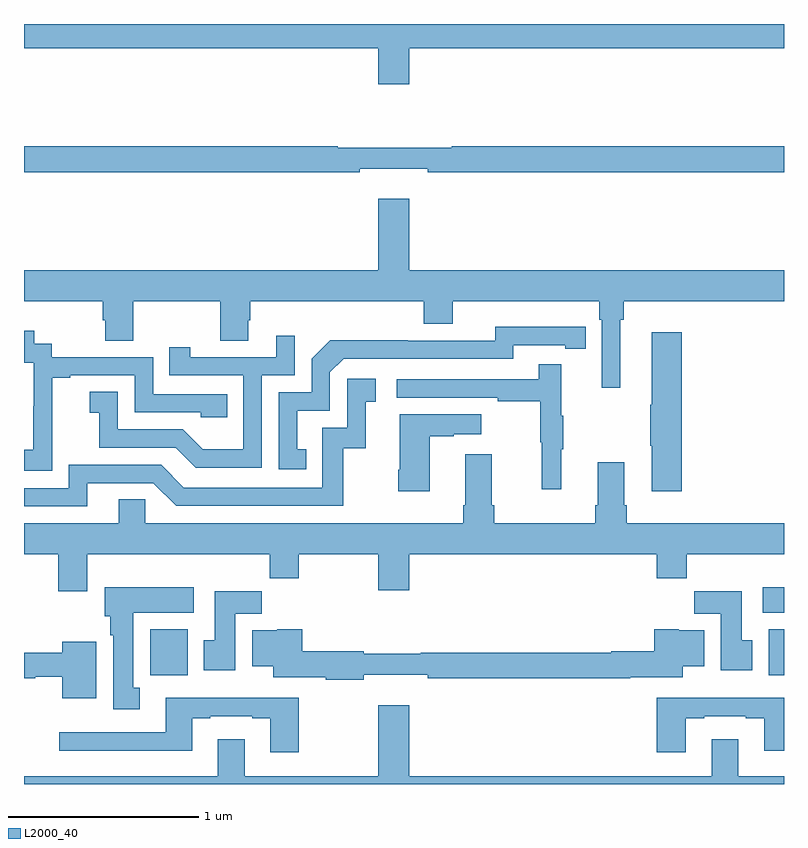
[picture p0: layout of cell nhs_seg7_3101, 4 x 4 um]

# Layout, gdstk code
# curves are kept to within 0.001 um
import gdstk
lib = gdstk.Library(unit=1e-6, precision=1e-09)
def R(c, l, rs):  # rectangles x0, y0, x1, y1
    for r in rs: c.add(gdstk.rectangle(r[:2], r[2:], *l))
def P(c, l, *ps):  # polygons
    for p in ps: c.add(gdstk.Polygon(p, *l))
L2000_40 = (2000, 40)

nhs_seg7_3101 = lib.new_cell('nhs_seg7_3101')
R(nhs_seg7_3101, L2000_40, [(307.664,1074.572,307.861,1074.814), (310.919,1074.572,311,1074.814), (310.887,1074.902,311,1075.036)])
P(nhs_seg7_3101, L2000_40, [(309.028,1077.872),(311,1077.872),(311,1078),(307,1078),(307,1077.872),(308.864,1077.872),(308.864,1077.684),(309.028,1077.684)],
  [(308.768,1077.239),(309.124,1077.239),(309.124,1077.22),(311,1077.22),(311,1077.356),(309.25,1077.356),(309.25,1077.349),(308.65,1077.349),(308.65,1077.356),(307,1077.356),(307,1077.22),(308.768,1077.22)],
  [(310.138,1076.444),(310.157,1076.444),(310.157,1076.54),(311,1076.54),(311,1076.704),(309.028,1076.704),(309.028,1077.079),(308.864,1077.079),(308.864,1076.704),(307,1076.704),(307,1076.54),(307.415,1076.54),(307.415,1076.442),(307.427,1076.442),(307.427,1076.332),(307.575,1076.332),(307.575,1076.54),(308.032,1076.54),(308.032,1076.332),(308.179,1076.332),(308.179,1076.442),(308.192,1076.442),(308.192,1076.54),(309.104,1076.54),(309.104,1076.423),(309.256,1076.423),(309.256,1076.54),(310.028,1076.54),(310.028,1076.444),(310.041,1076.444),(310.041,1076.085),(310.138,1076.085)],
  [(308.486,1075.761),(308.437,1075.761),(308.437,1075.965),(308.61,1075.965),(308.61,1076.166),(308.682,1076.238),(309.576,1076.238),(309.576,1076.31),(309.848,1076.31),(309.848,1076.29),(309.956,1076.29),(309.956,1076.406),(309.48,1076.407),(309.48,1076.334),(309.02,1076.334),(309.02,1076.336),(308.612,1076.336),(308.514,1076.238),(308.514,1076.061),(308.34,1076.061),(308.34,1075.656),(308.486,1075.656)],
  [(307.149,1075.855),(307.148,1075.855),(307.148,1076.139),(307.243,1076.139),(307.243,1076.151),(307.584,1076.151),(307.584,1075.956),(307.929,1075.956),(307.929,1075.929),(308.069,1075.929),(308.069,1076.052),(307.68,1076.052),(307.68,1076.247),(307.146,1076.247),(307.146,1076.316),(307.054,1076.316),(307.054,1076.386),(307,1076.386),(307,1076.217),(307.05,1076.217),(307.05,1075.988),(307.049,1075.988),(307.049,1075.759),(307,1075.759),(307,1075.649),(307.149,1075.649)],
  [(310.463,1076.377),(310.304,1076.377),(310.304,1075.997),(310.297,1075.997),(310.297,1075.78),(310.304,1075.78),(310.304,1075.542),(310.463,1075.542)],
  [(308.25,1076.151),(308.424,1076.151),(308.424,1076.359),(308.327,1076.359),(308.327,1076.247),(307.876,1076.247),(307.876,1076.299),(307.765,1076.299),(307.765,1076.151),(308.154,1076.151),(308.154,1075.762),(307.94,1075.762),(307.836,1075.866),(307.494,1075.866),(307.494,1076.065),(307.347,1076.065),(307.347,1075.955),(307.396,1075.955),(307.396,1075.77),(307.799,1075.77),(307.904,1075.665),(308.25,1075.665)],
  [(309.827,1075.763),(309.838,1075.763),(309.838,1075.937),(309.827,1075.937),(309.827,1076.209),(309.709,1076.209),(309.709,1076.13),(308.961,1076.13),(308.961,1076.034),(309.493,1076.034),(309.493,1076.014),(309.717,1076.014),(309.717,1075.8),(309.724,1075.8),(309.724,1075.551),(309.827,1075.551)],
  [(307.333,1075.584),(307.68,1075.584),(307.8,1075.464),(308.68,1075.464),(308.68,1075.767),(308.798,1075.767),(308.798,1076.013),(308.851,1076.013),(308.851,1076.134),(308.7,1076.134),(308.7,1075.875),(308.571,1075.875),(308.571,1075.56),(307.842,1075.56),(307.722,1075.68),(307.236,1075.68),(307.236,1075.557),(307,1075.557),(307,1075.461),(307.333,1075.461)],
  [(309.136,1075.831),(309.263,1075.831),(309.263,1075.841),(309.406,1075.841),(309.406,1075.945),(308.978,1075.945),(308.978,1075.654),(308.971,1075.654),(308.971,1075.542),(309.136,1075.542)],
  [(307.333,1075.208),(308.293,1075.208),(308.293,1075.084),(308.445,1075.084),(308.445,1075.208),(308.864,1075.208),(308.864,1075.02),(309.028,1075.02),(309.028,1075.208),(310.331,1075.208),(310.331,1075.084),(310.487,1075.084),(310.487,1075.208),(311,1075.208),(311,1075.372),(310.172,1075.372),(310.172,1075.468),(310.159,1075.468),(310.159,1075.693),(310.019,1075.693),(310.019,1075.468),(310.007,1075.468),(310.007,1075.372),(309.476,1075.372),(309.476,1075.468),(309.463,1075.468),(309.463,1075.735),(309.323,1075.735),(309.323,1075.468),(309.311,1075.468),(309.311,1075.372),(307.638,1075.372),(307.638,1075.499),(307.499,1075.499),(307.499,1075.372),(307,1075.372),(307,1075.208),(307.181,1075.208),(307.181,1075.014),(307.333,1075.014)],
  [(307.609,1074.506),(307.576,1074.506),(307.576,1074.902),(307.894,1074.902),(307.894,1075.036),(307.424,1075.036),(307.424,1074.882),(307.454,1074.882),(307.454,1074.782),(307.469,1074.782),(307.469,1074.393),(307.609,1074.393)],
  [(310.834,1074.756),(310.777,1074.756),(310.777,1075.015),(310.528,1075.015),(310.528,1074.896),(310.667,1074.896),(310.667,1074.6),(310.834,1074.6)],
  [(308.113,1074.896),(308.252,1074.896),(308.252,1075.015),(308.003,1075.015),(308.003,1074.756),(307.946,1074.756),(307.946,1074.6),(308.113,1074.6)],
  [(308.788,1074.575),(309.124,1074.575),(309.124,1074.556),(310.192,1074.556),(310.192,1074.563),(310.468,1074.563),(310.468,1074.62),(310.579,1074.62),(310.579,1074.808),(310.446,1074.808),(310.446,1074.814),(310.316,1074.814),(310.316,1074.7),(310.092,1074.7),(310.092,1074.692),(309.088,1074.692),(309.088,1074.685),(308.788,1074.685),(308.788,1074.7),(308.465,1074.7),(308.465,1074.814),(308.334,1074.814),(308.334,1074.808),(308.201,1074.808),(308.201,1074.62),(308.312,1074.62),(308.312,1074.563),(308.588,1074.563),(308.588,1074.548),(308.788,1074.548)],
  [(307.381,1074.748),(307.202,1074.748),(307.202,1074.692),(307,1074.692),(307,1074.556),(307.059,1074.556),(307.059,1074.564),(307.202,1074.564),(307.202,1074.452),(307.381,1074.452)],
  [(308.445,1074.454),(307.745,1074.454),(307.745,1074.273),(307.185,1074.273),(307.185,1074.176),(307.885,1074.176),(307.885,1074.345),(307.981,1074.345),(307.981,1074.357),(308.201,1074.357),(308.201,1074.345),(308.297,1074.345),(308.297,1074.168),(308.445,1074.168)],
  [(310.483,1074.345),(310.579,1074.345),(310.579,1074.357),(310.799,1074.357),(310.799,1074.345),(310.895,1074.345),(310.895,1074.176),(311,1074.176),(311,1074.454),(310.331,1074.454),(310.331,1074.168),(310.483,1074.168)],
  [(311,1074.04),(310.759,1074.04),(310.759,1074.235),(310.619,1074.235),(310.619,1074.04),(309.028,1074.04),(309.028,1074.415),(308.864,1074.415),(308.864,1074.04),(308.161,1074.04),(308.161,1074.235),(308.021,1074.235),(308.021,1074.04),(307,1074.04),(307,1074),(311,1074)])

lib.write_gds('nhs_seg7_3101.gds')
